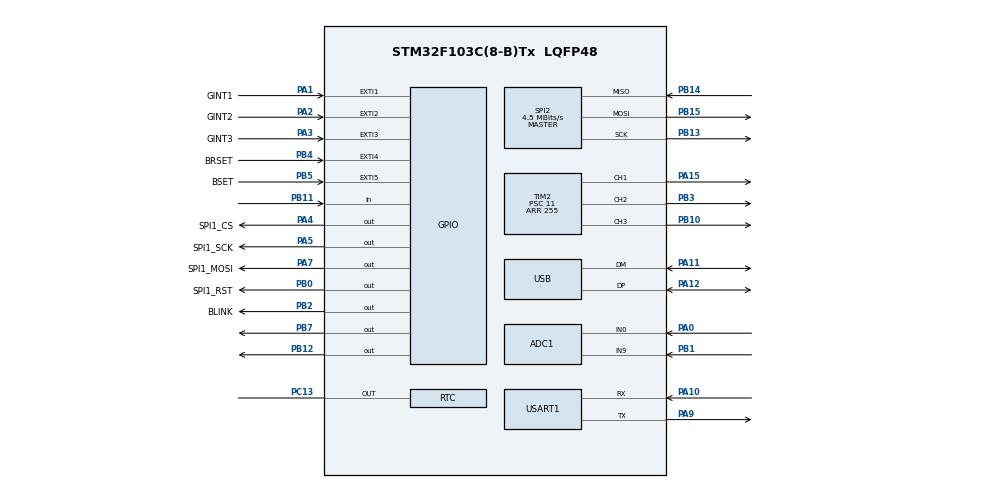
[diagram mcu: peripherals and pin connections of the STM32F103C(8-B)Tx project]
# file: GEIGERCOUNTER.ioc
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Mcu.Family=STM32F1
PA2.GPIO_PuPd=GPIO_PULLUP
USB_DEVICE.CLASS_NAME_FS=CDC
PB10.GPIO_Speed=GPIO_SPEED_FREQ_LOW
SPI2.VirtualType=VM_MASTER
ADC1.ContinuousConvMode=DISABLE
PB4.GPIO_ModeDefaultEXTI=GPIO_MODE_IT_FALLING
ADC1.SamplingTime-6\#ChannelRegularConversion=ADC_SAMPLETIME_7CYCLES_5
PA3.GPIO_PuPd=GPIO_PULLUP
NVIC.EXTI3_IRQn=true\:0\:0\:true\:false\:true\:true\:true
VP_RTC_VS_RTC_Activate.Mode=RTC_Enabled
PA11.Mode=Device
PB0.GPIO_Label=SPI1_RST
NVIC.TIM1_UP_IRQn=true\:2\:0\:true\:false\:true\:true\:true
TIM2.Channel-PWM\ Generation2\ CH2=TIM_CHANNEL_2
PB11.Signal=GPIO_Input
PB13.Signal=SPI2_SCK
PB15.Signal=SPI2_MOSI
PB3.GPIO_Speed=GPIO_SPEED_FREQ_LOW
RCC.SYSCLKSource=RCC_SYSCLKSOURCE_PLLCLK
ProjectManager.StackSize=0x400
PD1-OSC_OUT.Signal=RCC_OSC_OUT
NVIC.RTC_IRQn=true\:0\:0\:false\:false\:true\:true\:true
NVIC.EXTI1_IRQn=true\:0\:0\:false\:false\:true\:true\:true
PA12.Signal=USB_DP
TIM1.Prescaler=1800-1
RCC.HCLKFreq_Value=18000000
RCC.APB2TimFreq_Value=18000000
Dma.ADC1.0.Direction=DMA_PERIPH_TO_MEMORY
ADC1.InjNumberOfConversion=2
TIM2.ClockDivision=TIM_CLOCKDIVISION_DIV1
PA1.GPIO_PuPd=GPIO_PULLUP
Dma.ADC1.0.MemDataAlignment=DMA_MDATAALIGN_HALFWORD
RCC.AHBFreq_Value=18000000
SPI2.BaudRatePrescaler=SPI_BAUDRATEPRESCALER_4
PB2.Signal=GPIO_Output
RCC.PLLMUL=RCC_PLL_MUL9
PA4.GPIO_Speed=GPIO_SPEED_FREQ_HIGH
ADC1.Channel-6\#ChannelRegularConversion=ADC_CHANNEL_0
PA14.Mode=Serial_Wire
PB14.Mode=Full_Duplex_Master
Dma.ADC1.0.PeriphInc=DMA_PINC_DISABLE
NVIC.TIM2_IRQn=true\:3\:0\:true\:false\:true\:true\:true
SPI2.CalculateBaudRate=4.5 MBits/s
PB7.Signal=GPIO_Output
NVIC.SPI2_IRQn=true\:1\:0\:true\:false\:true\:true\:true
SH.ADCx_IN0.0=ADC1_IN0,IN0
TIM2.Channel-PWM\ Generation1\ CH1=TIM_CHANNEL_1
VP_TIM1_VS_ClockSourceINT.Mode=Internal
Mcu.Package=LQFP48
TIM2.Prescaler=11
PB1.Signal=ADCx_IN9
ADC1.EnableInjectedConversion=DISABLE
SPI2.Mode=SPI_MODE_MASTER
PA2.GPIO_Label=GINT2
PA10.Signal=USART1_RX
VP_RTC_VS_RTC_Calendar.Mode=RTC_Calendar
PA15.Signal=S_TIM2_CH1_ETR
SH.ADCx_IN9.0=ADC1_IN9,IN9
PB5.GPIO_Label=BSET
NVIC.EXTI2_IRQn=true\:0\:0\:true\:false\:true\:true\:true
RCC.APB1TimFreq_Value=18000000
SPI2.Direction=SPI_DIRECTION_2LINES
TIM1.Period=9999
PB13.Mode=Full_Duplex_Master
ADC1.Rank-6\#ChannelRegularConversion=1
Dma.Request0=ADC1
PA1.GPIO_ModeDefaultEXTI=GPIO_MODE_IT_FALLING
PA4.GPIO_Label=SPI1_CS
PB4.Signal=GPXTI4
PA3.Signal=GPXTI3
PB5.GPIO_ModeDefaultEXTI=GPIO_MODE_IT_FALLING
PB7.GPIO_PuPd=GPIO_PULLDOWN
RCC.PLLSourceVirtual=RCC_PLLSOURCE_HSE
NVIC.EXTI4_IRQn=true\:0\:0\:false\:false\:true\:true\:true
Dma.ADC1.0.Instance=DMA1_Channel1
PD1-OSC_OUT.Mode=HSE-External-Oscillator
PA10.Mode=Asynchronous
USB_DEVICE.VirtualModeFS=Cdc_FS
PC13-TAMPER-RTC.Signal=RTC_OUT
RCC.USBPrescaler=RCC_USBCLKSOURCE_PLL_DIV1_5
PD0-OSC_IN.Signal=RCC_OSC_IN
PA0-WKUP.Signal=ADCx_IN0
ADC1.Channel-7\#ChannelRegularConversion=ADC_CHANNEL_9
TIM1.ClockDivision=TIM_CLOCKDIVISION_DIV1
PA3.GPIO_ModeDefaultEXTI=GPIO_MODE_IT_FALLING
PB0.GPIO_Speed=GPIO_SPEED_FREQ_HIGH
RCC.ADCPresc=RCC_ADCPCLK2_DIV4
PA13.Signal=SYS_JTMS-SWDIO
TIM1.AutoReloadPreload=TIM_AUTORELOAD_PRELOAD_ENABLE
SH.S_TIM2_CH2.0=TIM2_CH2,PWM Generation2 CH2
Dma.ADC1.0.PeriphDataAlignment=DMA_PDATAALIGN_HALFWORD
PA9.Mode=Asynchronous
ProjectManager.TargetToolchain=STM32CubeIDE
USB_DEVICE.PRODUCT_STRING_CDC_FS=STM32 Virtual CumPort
Dma.ADC1.0.Mode=DMA_NORMAL
VP_USB_DEVICE_VS_USB_DEVICE_CDC_FS.Mode=CDC_FS
Dma.ADC1.0.Priority=DMA_PRIORITY_LOW
PA9.Signal=USART1_TX
RTC.Format=RTC_FORMAT_BIN
PB4.GPIO_PuPd=GPIO_PULLUP
RCC.USBFreq_Value=48000000
PA1.Signal=GPXTI1
PB12.GPIO_Speed=GPIO_SPEED_FREQ_HIGH
PD0-OSC_IN.Mode=HSE-External-Oscillator
PB10.Signal=S_TIM2_CH3
PB14.Signal=SPI2_MISO
PA5.Signal=GPIO_Output
board=custom
PA7.GPIO_Speed=GPIO_SPEED_FREQ_HIGH
PB15.Mode=Full_Duplex_Master
PC13-TAMPER-RTC.Mode=RTC OUT
RCC.APB2Freq_Value=18000000
PB4.GPIO_Label=BRSET
VP_TIM2_VS_ClockSourceINT.Mode=Internal
SH.S_TIM2_CH3.0=TIM2_CH3,PWM Generation3 CH3
NVIC.USB_LP_CAN1_RX0_IRQn=true\:0\:0\:false\:false\:true\:false\:true
PA1.GPIO_Label=GINT1
TIM2.Channel-PWM\ Generation3\ CH3=TIM_CHANNEL_3
RCC.AHBCLKDivider=RCC_SYSCLK_DIV4
TIM2.Period=255
ADC1.NbrOfConversion=2
PA13.Mode=Serial_Wire
NVIC.RTC_Alarm_IRQn=true\:0\:0\:false\:false\:true\:true\:true
Mcu.Name=STM32F103C(8-B)Tx
PA2.Signal=GPXTI2
PB3.Signal=S_TIM2_CH2
PA4.Signal=GPIO_Output
RCC.SYSCLKFreq_VALUE=72000000
PB5.Signal=GPXTI5
PA7.GPIO_Label=SPI1_MOSI
ADC1.master=1
PA12.Mode=Device
PA5.GPIO_Label=SPI1_SCK
PB5.GPIO_PuPd=GPIO_PULLUP
USART1.VirtualMode=VM_ASYNC
PA11.Signal=USB_DM
SH.S_TIM2_CH1_ETR.0=TIM2_CH1,PWM Generation1 CH1
NVIC.EXTI9_5_IRQn=true\:0\:0\:false\:false\:true\:true\:true
PA14.Signal=SYS_JTCK-SWCLK
Dma.ADC1.0.MemInc=DMA_MINC_ENABLE
PB2.GPIO_Label=BLINK
ProjectManager.HeapSize=0x400
PA2.GPIO_ModeDefaultEXTI=GPIO_MODE_IT_FALLING
ADC1.Rank-7\#ChannelRegularConversion=2
PA5.GPIO_Speed=GPIO_SPEED_FREQ_HIGH
NVIC.PriorityGroup=NVIC_PRIORITYGROUP_4
ADC1.NbrOfConversionFlag=1
ADC1.EnableRegularConversion=ENABLE
TIM2.AutoReloadPreload=TIM_AUTORELOAD_PRELOAD_ENABLE
ADC1.SamplingTime-7\#ChannelRegularConversion=ADC_SAMPLETIME_7CYCLES_5
NVIC.DMA1_Channel1_IRQn=true\:0\:0\:false\:false\:true\:false\:true
PB12.GPIO_PuPd=GPIO_NOPULL
RCC.APB1Freq_Value=18000000
PB0.Signal=GPIO_Output
USB_DEVICE.VirtualMode=Cdc
PB12.Signal=GPIO_Output
PA3.GPIO_Label=GINT3
PA7.Signal=GPIO_Output

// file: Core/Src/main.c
/* USER CODE BEGIN Header */
/**
  ******************************************************************************
  * @file           : main.c
  * @brief          : Main program body
  ******************************************************************************
  * @attention
  *
  * <h2><center>&copy; Copyright (c) 2020 STMicroelectronics.
  * All rights reserved.</center></h2>
  *
  * This software component is licensed by ST under BSD 3-Clause license,
  * the "License"; You may not use this file except in compliance with the
  * License. You may obtain a copy of the License at:
  *                        opensource.org/licenses/BSD-3-Clause
  *
  ******************************************************************************
  */
/* USER CODE END Header */
#include "main.h"
#include "usb_device.h"

/* USER CODE BEGIN Includes */
#include "usbd_cdc_if.h"
#include "configuration.h"
#include "stdio.h"
#include "util.h"
#include <managers/meaning_manager.h>
#include "managers/output_manager.h"
#include "managers/data_manager.h"
#include "managers/input_manager.h"
#include "managers/power_manager.h"
#include "libs/w25qxx.h"
/* USER CODE END Includes */

RTC_HandleTypeDef hrtc;

/* USER CODE BEGIN PV */

unsigned long highvolt_millis = 0;
unsigned long batvolt_millis = 0;
unsigned long gps_millis = 0;

extern DINITSTATUS device_status;

extern geiger_flags GFLAGS;
extern geiger_meaning GMEANING;
extern geiger_work GWORK;
extern geiger_mode GMODE;
extern NVRAM DevNVRAM;
extern geiger_ui GUI;

extern uint8_t current_hour;
extern uint8_t current_minutes;
extern uint8_t current_seconds;

extern uint8_t submode_cursor;

extern bool screen_saver_state;
extern uint8_t sleepy_deepy;

bool high_voltage_update;
/* USER CODE END PV */

void SystemClock_Config(void);
static void MX_GPIO_Init(void);
static void MX_DMA_Init(void);
static void MX_SPI2_Init(void);
static void MX_TIM1_Init(void);
static void MX_TIM2_Init(void);
static void MX_ADC1_Init(void);
static void MX_USART1_UART_Init(void);
static void MX_RTC_Init(void);

/* USER CODE BEGIN 0 */

void HAL_GPIO_EXTI_Callback(uint16_t GPIO_Pin){
	switch(GPIO_Pin){
	case 1:
		interrupts_handler();
		break;
	case 2:
		interrupts_handler();
		break;
	case 3:
		interrupts_handler();
		break;
	case GPIO_PIN_5:
		if(GFLAGS.is_sleep_mode){
			if(GFLAGS.is_muted) GFLAGS.is_muted = false;
			GFLAGS.is_detected = true;
			if(sleepy_deepy++ > 3){
				sleepy_deepy = 0;
				exit_sleep_mode();
			}
		}

		if(GFLAGS.is_stop_mode){
			if(GFLAGS.is_muted) GFLAGS.is_muted = false;
			GFLAGS.is_detected = true;
			if(sleepy_deepy++ > 3){
				sleepy_deepy = 0;
				exit_stop_mode();
			}
		}
		break;
	}
}

/* USER CODE END 0 */

int main(void)
{
  /* USER CODE BEGIN 1 */
  //SCB->VTOR = 0x08005004;
  //__enable_irq();
  /* USER CODE END 1 */

  /* MCU Configuration--------------------------------------------------------*/

  /* Reset of all peripherals, Initializes the Flash interface and the Systick. */
  HAL_Init();

  /* Configure the system clock */
  SystemClock_Config();

  /* Initialize all configured peripherals */
  MX_GPIO_Init();
  MX_DMA_Init();
  MX_SPI2_Init();
  MX_TIM1_Init();
  MX_TIM2_Init();
  MX_ADC1_Init();
  MX_USB_DEVICE_Init();
  MX_USART1_UART_Init();
  MX_RTC_Init();
  /* USER CODE BEGIN 2 */

  LL_SYSTICK_EnableIT();
  LL_SPI_Enable(SPI2);

   Initialize_data();
   DevNVRAM.GSETTING.session_number++;
   Write_configuration();

   adc_init();
   init_inputs();

  init_outputs();
  GMODE.counter_mode = 0;

  //Enable timers
  LL_TIM_EnableIT_UPDATE(TIM1);
  LL_TIM_EnableCounter(TIM1);

  LL_TIM_CC_EnableChannel(TIM2, LL_TIM_CHANNEL_CH1 | LL_TIM_CHANNEL_CH2 | LL_TIM_CHANNEL_CH3);
  LL_TIM_EnableCounter(TIM2);

  update_selected_counter();

  if(HAL_GPIO_ReadPin(GPIOB, GPIO_PIN_5 ) != GPIO_PIN_SET){
	  Reset_settings();
	  LL_mDelay(100);
  }

  /* USER CODE END 2 */

  /* Infinite loop */
  /* USER CODE BEGIN WHILE */
  while (1)
  {
#ifndef DEBUG
	beep();
	if(!GFLAGS.is_stop_mode){
		if((GMEANING.current_battery_voltage < BAT_ADC_MIN) && !GFLAGS.is_low_voltage) GFLAGS.is_low_voltage = true;		//Check, is battery low

		GFLAGS.is_charging = false;//(bool)(GPIOB->IDR & LL_GPIO_PIN_11);
		//if(is_low_voltage) low_battery_kill();

		if(!GFLAGS.is_charging){
			voltage_required();

			if(GetTick() - batvolt_millis > 100){
				batvolt_millis = GetTick();
				LL_ADC_REG_StartConversionSWStart(ADC1);
				high_voltage_update = true;
			}

			//High voltage regulation
			if(DevNVRAM.GSETTING.ACTIVE_COUNTERS != 0 && !GFLAGS.log_mutex){
				if(GFLAGS.stop_timer && GMODE.counter_mode == 1) TIM2->CCR1 = 0;
				else{
					if(high_voltage_update){
						if(GMEANING.current_high_voltage < GWORK.voltage_req) { if(GWORK.transformer_pwm < 200)GWORK.transformer_pwm++; }
						else { if(GWORK.transformer_pwm > 0) GWORK.transformer_pwm--; }
						/*float test_val = 0;
						test_val = (float)GMEANING.current_high_voltage/(float)GWORK.voltage_req;
						GWORK.transformer_pwm = GWORK.transformer_pwm/test_val;*/
						high_voltage_update = false;
					}
					TIM2->CCR1 = GWORK.transformer_pwm;
				}
			}else{
				TIM2->CCR1 = 0;
			}

			if(!GFLAGS.is_sleep_mode){
				uart_transmition_handler();
				button_action();
				screen_saver_ticker();

				/******************************************************************************************************************************/
				//Timer for logger
				if(GetTick() - gps_millis > DevNVRAM.GSETTING.log_save_period * 1000){
					gps_millis = GetTick();

					if(GFLAGS.is_tracking_enabled){
						uint8_t buffer[64];
						memset(buffer, 0, sizeof(buffer));
						sprintf(buffer, "%u,%u,%u,%u,%u,%u\n", DevNVRAM.GSETTING.session_number, GWORK.rad_back, GWORK.rad_dose, current_hour, current_minutes, current_seconds);
						if(!Write_string_w25qxx(buffer)){
							//Not enought memory, can't write
							//Do something
						}
					}
				}

				//Check is current radiation more then alarm threshold
				if((GWORK.rad_back > DevNVRAM.GSETTING.ALARM_THRESHOLD) && !GFLAGS.no_alarm && (GMODE.counter_mode == 0)) { GFLAGS.do_alarm = true; }
				else { if(GMODE.counter_mode == 0) GFLAGS.do_alarm = false; }

				if(!GFLAGS.do_alarm && !screen_saver_state){ if((bool)DevNVRAM.GSETTING.LCD_BACKLIGHT){ pwm_backlight(BACKLIGHT_INTENSITY); } else {pwm_backlight(0);} }//Disable or enable backlight after alarm

				//Alarm algorithm
				if(!GFLAGS.no_alarm) {
					if(GFLAGS.do_alarm){
						if(GetTick()-GWORK.alarm_timer > 300){
							GWORK.alarm_timer = GetTick();
							if(!GFLAGS.is_muted) pwm_tone(GFLAGS.is_alarm ? 100 : 200);
							pwm_backlight(GFLAGS.is_alarm ? 255 : 0);
							GFLAGS.is_alarm = !GFLAGS.is_alarm;
							screen_saver_update();
						}
					}
				}

				if(!screen_saver_state) draw_update();

				//Save dose part
				if(GMODE.counter_mode==0){
					if(GWORK.rad_dose - GWORK.rad_dose_old > DevNVRAM.GSETTING.SAVE_DOSE_INTERVAL){
						GWORK.rad_dose_old = GWORK.rad_dose;
						GWORK.rad_max = GWORK.rad_back;
						Write_configuration();
					}
				}
			}

			if(GMODE.counter_mode != 1){
				switch(submode_cursor){
					case 0:
						GFLAGS.is_mean_mode = false;
						GFLAGS.is_particle_mode = false;
						GFLAGS.is_particle_per_sec_mode = false;
						GFLAGS.calculate_dose = true;;
						break;
					case 1:
						GFLAGS.is_mean_mode = false;
						GFLAGS.is_particle_mode = true;
						GFLAGS.is_particle_per_sec_mode = false;
						GFLAGS.calculate_dose = false;
						GFLAGS.no_alarm = true;
						break;
					case 2:
						GFLAGS.is_mean_mode = true;
						GFLAGS.is_particle_mode = false;
						GFLAGS.is_particle_per_sec_mode = false;
						GFLAGS.calculate_dose = true;
						break;
					case 3:
						GFLAGS.is_mean_mode = false;
						GFLAGS.is_particle_mode = false;
						GFLAGS.is_particle_per_sec_mode = true;
						GFLAGS.calculate_dose = false;
						GFLAGS.no_alarm = true;
						break;
				}
			}

			/******************************************************************************************************************************/
			//Timer for update voltage values
		}else{
			//pwm_transformer(0);
			pwm_tone(0);
			pwm_backlight(0);
		}
	}
#endif
  }
    /* USER CODE END WHILE */

}

void SystemClock_Config(void)
{
  LL_FLASH_SetLatency(LL_FLASH_LATENCY_2);
  while(LL_FLASH_GetLatency()!= LL_FLASH_LATENCY_2)
  {
  }
  LL_RCC_HSE_Enable();

   /* Wait till HSE is ready */
  while(LL_RCC_HSE_IsReady() != 1)
  {

  }
  LL_RCC_LSI_Enable();

   /* Wait till LSI is ready */
  while(LL_RCC_LSI_IsReady() != 1)
  {

  }
  LL_PWR_EnableBkUpAccess();
  LL_RCC_ForceBackupDomainReset();
  LL_RCC_ReleaseBackupDomainReset();
  LL_RCC_SetRTCClockSource(LL_RCC_RTC_CLKSOURCE_LSI);
  LL_RCC_EnableRTC();
  LL_RCC_PLL_ConfigDomain_SYS(LL_RCC_PLLSOURCE_HSE_DIV_1, LL_RCC_PLL_MUL_9);
  LL_RCC_PLL_Enable();

   /* Wait till PLL is ready */
  while(LL_RCC_PLL_IsReady() != 1)
  {

  }
  LL_RCC_SetAHBPrescaler(LL_RCC_SYSCLK_DIV_4);
  LL_RCC_SetAPB1Prescaler(LL_RCC_APB1_DIV_1);
  LL_RCC_SetAPB2Prescaler(LL_RCC_APB2_DIV_1);
  LL_RCC_SetSysClkSource(LL_RCC_SYS_CLKSOURCE_PLL);

   /* Wait till System clock is ready */
  while(LL_RCC_GetSysClkSource() != LL_RCC_SYS_CLKSOURCE_STATUS_PLL)
  {

  }
  LL_SetSystemCoreClock(18000000);

   /* Update the time base */
  if (HAL_InitTick (TICK_INT_PRIORITY) != HAL_OK)
  {
    Error_Handler();
  }
  LL_RCC_SetADCClockSource(LL_RCC_ADC_CLKSRC_PCLK2_DIV_4);
  LL_RCC_SetUSBClockSource(LL_RCC_USB_CLKSOURCE_PLL_DIV_1_5);
}

static void MX_ADC1_Init(void)
{

  LL_ADC_InitTypeDef ADC_InitStruct = {0};
  LL_ADC_CommonInitTypeDef ADC_CommonInitStruct = {0};
  LL_ADC_REG_InitTypeDef ADC_REG_InitStruct = {0};

  LL_GPIO_InitTypeDef GPIO_InitStruct = {0};

  /* Peripheral clock enable */
  LL_APB2_GRP1_EnableClock(LL_APB2_GRP1_PERIPH_ADC1);

  LL_APB2_GRP1_EnableClock(LL_APB2_GRP1_PERIPH_GPIOA);
  LL_APB2_GRP1_EnableClock(LL_APB2_GRP1_PERIPH_GPIOB);
  /**ADC1 GPIO Configuration
  PA0-WKUP   ------> ADC1_IN0
  PB1   ------> ADC1_IN9
  */
  GPIO_InitStruct.Pin = LL_GPIO_PIN_0;
  GPIO_InitStruct.Mode = LL_GPIO_MODE_ANALOG;
  LL_GPIO_Init(GPIOA, &GPIO_InitStruct);

  GPIO_InitStruct.Pin = LL_GPIO_PIN_1;
  GPIO_InitStruct.Mode = LL_GPIO_MODE_ANALOG;
  LL_GPIO_Init(GPIOB, &GPIO_InitStruct);

  /* ADC1 DMA Init */

  /* ADC1 Init */
  LL_DMA_SetDataTransferDirection(DMA1, LL_DMA_CHANNEL_1, LL_DMA_DIRECTION_PERIPH_TO_MEMORY);

  LL_DMA_SetChannelPriorityLevel(DMA1, LL_DMA_CHANNEL_1, LL_DMA_PRIORITY_LOW);

  LL_DMA_SetMode(DMA1, LL_DMA_CHANNEL_1, LL_DMA_MODE_NORMAL);

  LL_DMA_SetPeriphIncMode(DMA1, LL_DMA_CHANNEL_1, LL_DMA_PERIPH_NOINCREMENT);

  LL_DMA_SetMemoryIncMode(DMA1, LL_DMA_CHANNEL_1, LL_DMA_MEMORY_INCREMENT);

  LL_DMA_SetPeriphSize(DMA1, LL_DMA_CHANNEL_1, LL_DMA_PDATAALIGN_HALFWORD);

  LL_DMA_SetMemorySize(DMA1, LL_DMA_CHANNEL_1, LL_DMA_MDATAALIGN_HALFWORD);

  /** Common config
  */
  ADC_InitStruct.DataAlignment = LL_ADC_DATA_ALIGN_RIGHT;
  ADC_InitStruct.SequencersScanMode = LL_ADC_SEQ_SCAN_ENABLE;
  LL_ADC_Init(ADC1, &ADC_InitStruct);
  ADC_CommonInitStruct.Multimode = LL_ADC_MULTI_INDEPENDENT;
  LL_ADC_CommonInit(__LL_ADC_COMMON_INSTANCE(ADC1), &ADC_CommonInitStruct);
  ADC_REG_InitStruct.TriggerSource = LL_ADC_REG_TRIG_SOFTWARE;
  ADC_REG_InitStruct.SequencerLength = LL_ADC_REG_SEQ_SCAN_ENABLE_2RANKS;
  ADC_REG_InitStruct.SequencerDiscont = LL_ADC_REG_SEQ_DISCONT_DISABLE;
  ADC_REG_InitStruct.ContinuousMode = LL_ADC_REG_CONV_SINGLE;
  ADC_REG_InitStruct.DMATransfer = LL_ADC_REG_DMA_TRANSFER_UNLIMITED;
  LL_ADC_REG_Init(ADC1, &ADC_REG_InitStruct);
  /** Configure Regular Channel
  */
  LL_ADC_REG_SetSequencerRanks(ADC1, LL_ADC_REG_RANK_1, LL_ADC_CHANNEL_0);
  LL_ADC_SetChannelSamplingTime(ADC1, LL_ADC_CHANNEL_0, LL_ADC_SAMPLINGTIME_7CYCLES_5);
  /** Configure Regular Channel
  */
  LL_ADC_REG_SetSequencerRanks(ADC1, LL_ADC_REG_RANK_2, LL_ADC_CHANNEL_9);
  LL_ADC_SetChannelSamplingTime(ADC1, LL_ADC_CHANNEL_9, LL_ADC_SAMPLINGTIME_7CYCLES_5);

}

static void MX_RTC_Init(void)
{

  RTC_TimeTypeDef sTime = {0};
  RTC_DateTypeDef DateToUpdate = {0};
  RTC_AlarmTypeDef sAlarm = {0};

  /** Initialize RTC Only
  */
  hrtc.Instance = RTC;
  hrtc.Init.AsynchPrediv = RTC_AUTO_1_SECOND;
  hrtc.Init.OutPut = RTC_OUTPUTSOURCE_ALARM;
  if (HAL_RTC_Init(&hrtc) != HAL_OK)
  {
    Error_Handler();
  }

  /** Initialize RTC and set the Time and Date
  */
  sTime.Hours = 0;
  sTime.Minutes = 0;
  sTime.Seconds = 0;

  if (HAL_RTC_SetTime(&hrtc, &sTime, RTC_FORMAT_BIN) != HAL_OK)
  {
    Error_Handler();
  }
  DateToUpdate.WeekDay = RTC_WEEKDAY_MONDAY;
  DateToUpdate.Month = RTC_MONTH_JANUARY;
  DateToUpdate.Date = 1;
  DateToUpdate.Year = 0;

  if (HAL_RTC_SetDate(&hrtc, &DateToUpdate, RTC_FORMAT_BIN) != HAL_OK)
  {
    Error_Handler();
  }
  /** Enable the Alarm A
  */
  sAlarm.AlarmTime.Hours = 0;
  sAlarm.AlarmTime.Minutes = 0;
  sAlarm.AlarmTime.Seconds = 0;
  sAlarm.Alarm = RTC_ALARM_A;
  if (HAL_RTC_SetAlarm_IT(&hrtc, &sAlarm, RTC_FORMAT_BIN) != HAL_OK)
  {
    Error_Handler();
  }

}

static void MX_SPI2_Init(void)
{

  LL_SPI_InitTypeDef SPI_InitStruct = {0};

  LL_GPIO_InitTypeDef GPIO_InitStruct = {0};

  /* Peripheral clock enable */
  LL_APB1_GRP1_EnableClock(LL_APB1_GRP1_PERIPH_SPI2);

  LL_APB2_GRP1_EnableClock(LL_APB2_GRP1_PERIPH_GPIOB);
  /**SPI2 GPIO Configuration
  PB13   ------> SPI2_SCK
  PB14   ------> SPI2_MISO
  PB15   ------> SPI2_MOSI
  */
  GPIO_InitStruct.Pin = LL_GPIO_PIN_13|LL_GPIO_PIN_15;
  GPIO_InitStruct.Mode = LL_GPIO_MODE_ALTERNATE;
  GPIO_InitStruct.Speed = LL_GPIO_SPEED_FREQ_HIGH;
  GPIO_InitStruct.OutputType = LL_GPIO_OUTPUT_PUSHPULL;
  LL_GPIO_Init(GPIOB, &GPIO_InitStruct);

  GPIO_InitStruct.Pin = LL_GPIO_PIN_14;
  GPIO_InitStruct.Mode = LL_GPIO_MODE_FLOATING;
  LL_GPIO_Init(GPIOB, &GPIO_InitStruct);

  /* SPI2 interrupt Init */
  NVIC_SetPriority(SPI2_IRQn, NVIC_EncodePriority(NVIC_GetPriorityGrouping(),1, 0));
  NVIC_EnableIRQ(SPI2_IRQn);

  /* SPI2 parameter configuration*/
  SPI_InitStruct.TransferDirection = LL_SPI_FULL_DUPLEX;
  SPI_InitStruct.Mode = LL_SPI_MODE_MASTER;
  SPI_InitStruct.DataWidth = LL_SPI_DATAWIDTH_8BIT;
  SPI_InitStruct.ClockPolarity = LL_SPI_POLARITY_LOW;
  SPI_InitStruct.ClockPhase = LL_SPI_PHASE_1EDGE;
  SPI_InitStruct.NSS = LL_SPI_NSS_SOFT;
  SPI_InitStruct.BaudRate = LL_SPI_BAUDRATEPRESCALER_DIV4;
  SPI_InitStruct.BitOrder = LL_SPI_MSB_FIRST;
  SPI_InitStruct.CRCCalculation = LL_SPI_CRCCALCULATION_DISABLE;
  SPI_InitStruct.CRCPoly = 10;
  LL_SPI_Init(SPI2, &SPI_InitStruct);

}

static void MX_TIM1_Init(void)
{

  LL_TIM_InitTypeDef TIM_InitStruct = {0};

  /* Peripheral clock enable */
  LL_APB2_GRP1_EnableClock(LL_APB2_GRP1_PERIPH_TIM1);

  /* TIM1 interrupt Init */
  NVIC_SetPriority(TIM1_UP_IRQn, NVIC_EncodePriority(NVIC_GetPriorityGrouping(),2, 0));
  NVIC_EnableIRQ(TIM1_UP_IRQn);

  TIM_InitStruct.Prescaler = 1800-LL_TIM_IC_FILTER_FDIV1_N2;
  TIM_InitStruct.CounterMode = LL_TIM_COUNTERMODE_UP;
  TIM_InitStruct.Autoreload = 9999;
  TIM_InitStruct.ClockDivision = LL_TIM_CLOCKDIVISION_DIV1;
  TIM_InitStruct.RepetitionCounter = 0;
  LL_TIM_Init(TIM1, &TIM_InitStruct);
  LL_TIM_EnableARRPreload(TIM1);
  LL_TIM_SetClockSource(TIM1, LL_TIM_CLOCKSOURCE_INTERNAL);
  LL_TIM_SetTriggerOutput(TIM1, LL_TIM_TRGO_RESET);
  LL_TIM_DisableMasterSlaveMode(TIM1);

}

static void MX_TIM2_Init(void)
{

  LL_TIM_InitTypeDef TIM_InitStruct = {0};
  LL_TIM_OC_InitTypeDef TIM_OC_InitStruct = {0};

  LL_GPIO_InitTypeDef GPIO_InitStruct = {0};

  /* Peripheral clock enable */
  LL_APB1_GRP1_EnableClock(LL_APB1_GRP1_PERIPH_TIM2);

  /* TIM2 interrupt Init */
  NVIC_SetPriority(TIM2_IRQn, NVIC_EncodePriority(NVIC_GetPriorityGrouping(),3, 0));
  NVIC_EnableIRQ(TIM2_IRQn);

  TIM_InitStruct.Prescaler = 11;
  TIM_InitStruct.CounterMode = LL_TIM_COUNTERMODE_UP;
  TIM_InitStruct.Autoreload = 255;
  TIM_InitStruct.ClockDivision = LL_TIM_CLOCKDIVISION_DIV1;
  LL_TIM_Init(TIM2, &TIM_InitStruct);
  LL_TIM_EnableARRPreload(TIM2);
  LL_TIM_SetClockSource(TIM2, LL_TIM_CLOCKSOURCE_INTERNAL);
  LL_TIM_OC_EnablePreload(TIM2, LL_TIM_CHANNEL_CH1);
  TIM_OC_InitStruct.OCMode = LL_TIM_OCMODE_PWM1;
  TIM_OC_InitStruct.OCState = LL_TIM_OCSTATE_DISABLE;
  TIM_OC_InitStruct.OCNState = LL_TIM_OCSTATE_DISABLE;
  TIM_OC_InitStruct.CompareValue = 0;
  TIM_OC_InitStruct.OCPolarity = LL_TIM_OCPOLARITY_HIGH;
  LL_TIM_OC_Init(TIM2, LL_TIM_CHANNEL_CH1, &TIM_OC_InitStruct);
  LL_TIM_OC_DisableFast(TIM2, LL_TIM_CHANNEL_CH1);
  LL_TIM_OC_EnablePreload(TIM2, LL_TIM_CHANNEL_CH2);
  TIM_OC_InitStruct.OCState = LL_TIM_OCSTATE_DISABLE;
  TIM_OC_InitStruct.OCNState = LL_TIM_OCSTATE_DISABLE;
  LL_TIM_OC_Init(TIM2, LL_TIM_CHANNEL_CH2, &TIM_OC_InitStruct);
  LL_TIM_OC_DisableFast(TIM2, LL_TIM_CHANNEL_CH2);
  LL_TIM_OC_EnablePreload(TIM2, LL_TIM_CHANNEL_CH3);
  TIM_OC_InitStruct.OCState = LL_TIM_OCSTATE_DISABLE;
  TIM_OC_InitStruct.OCNState = LL_TIM_OCSTATE_DISABLE;
  LL_TIM_OC_Init(TIM2, LL_TIM_CHANNEL_CH3, &TIM_OC_InitStruct);
  LL_TIM_OC_DisableFast(TIM2, LL_TIM_CHANNEL_CH3);
  LL_TIM_SetTriggerOutput(TIM2, LL_TIM_TRGO_RESET);
  LL_TIM_DisableMasterSlaveMode(TIM2);
  LL_APB2_GRP1_EnableClock(LL_APB2_GRP1_PERIPH_GPIOB);
  LL_APB2_GRP1_EnableClock(LL_APB2_GRP1_PERIPH_GPIOA);
  /**TIM2 GPIO Configuration
  PB10   ------> TIM2_CH3
  PA15   ------> TIM2_CH1
  PB3   ------> TIM2_CH2
  */
  GPIO_InitStruct.Pin = LL_GPIO_PIN_10|LL_GPIO_PIN_3;
  GPIO_InitStruct.Mode = LL_GPIO_MODE_ALTERNATE;
  GPIO_InitStruct.Speed = LL_GPIO_SPEED_FREQ_LOW;
  GPIO_InitStruct.OutputType = LL_GPIO_OUTPUT_PUSHPULL;
  LL_GPIO_Init(GPIOB, &GPIO_InitStruct);

  GPIO_InitStruct.Pin = LL_GPIO_PIN_15;
  GPIO_InitStruct.Mode = LL_GPIO_MODE_ALTERNATE;
  GPIO_InitStruct.Speed = LL_GPIO_SPEED_FREQ_LOW;
  GPIO_InitStruct.OutputType = LL_GPIO_OUTPUT_PUSHPULL;
  LL_GPIO_Init(GPIOA, &GPIO_InitStruct);

  LL_GPIO_AF_EnableRemap_TIM2();

}

static void MX_USART1_UART_Init(void)
{

  LL_USART_InitTypeDef USART_InitStruct = {0};

  LL_GPIO_InitTypeDef GPIO_InitStruct = {0};

  /* Peripheral clock enable */
  LL_APB2_GRP1_EnableClock(LL_APB2_GRP1_PERIPH_USART1);

  LL_APB2_GRP1_EnableClock(LL_APB2_GRP1_PERIPH_GPIOA);
  /**USART1 GPIO Configuration
  PA9   ------> USART1_TX
  PA10   ------> USART1_RX
  */
  GPIO_InitStruct.Pin = LL_GPIO_PIN_9;
  GPIO_InitStruct.Mode = LL_GPIO_MODE_ALTERNATE;
  GPIO_InitStruct.Speed = LL_GPIO_SPEED_FREQ_HIGH;
  GPIO_InitStruct.OutputType = LL_GPIO_OUTPUT_PUSHPULL;
  LL_GPIO_Init(GPIOA, &GPIO_InitStruct);

  GPIO_InitStruct.Pin = LL_GPIO_PIN_10;
  GPIO_InitStruct.Mode = LL_GPIO_MODE_FLOATING;
  LL_GPIO_Init(GPIOA, &GPIO_InitStruct);

  USART_InitStruct.BaudRate = 115200;
  USART_InitStruct.DataWidth = LL_USART_DATAWIDTH_8B;
  USART_InitStruct.StopBits = LL_USART_STOPBITS_1;
  USART_InitStruct.Parity = LL_USART_PARITY_NONE;
  USART_InitStruct.TransferDirection = LL_USART_DIRECTION_TX_RX;
  USART_InitStruct.HardwareFlowControl = LL_USART_HWCONTROL_NONE;
  USART_InitStruct.OverSampling = LL_USART_OVERSAMPLING_16;
  LL_USART_Init(USART1, &USART_InitStruct);
  LL_USART_ConfigAsyncMode(USART1);
  LL_USART_Enable(USART1);

}

static void MX_DMA_Init(void)
{

  /* Init with LL driver */
  /* DMA controller clock enable */
  LL_AHB1_GRP1_EnableClock(LL_AHB1_GRP1_PERIPH_DMA1);

  /* DMA interrupt init */
  /* DMA1_Channel1_IRQn interrupt configuration */
  NVIC_SetPriority(DMA1_Channel1_IRQn, NVIC_EncodePriority(NVIC_GetPriorityGrouping(),0, 0));
  NVIC_EnableIRQ(DMA1_Channel1_IRQn);

}

static void MX_GPIO_Init(void)
{
  GPIO_InitTypeDef GPIO_InitStruct = {0};

  /* GPIO Ports Clock Enable */
  __HAL_RCC_GPIOC_CLK_ENABLE();
  __HAL_RCC_GPIOD_CLK_ENABLE();
  __HAL_RCC_GPIOA_CLK_ENABLE();
  __HAL_RCC_GPIOB_CLK_ENABLE();

  /*Configure GPIO pin Output Level */
  HAL_GPIO_WritePin(GPIOA, SPI1_CS_Pin|SPI1_SCK_Pin|SPI1_MOSI_Pin, GPIO_PIN_RESET);

  /*Configure GPIO pin Output Level */
  HAL_GPIO_WritePin(GPIOB, SPI1_RST_Pin|BLINK_Pin|GPIO_PIN_12|GPIO_PIN_7, GPIO_PIN_RESET);

  /*Configure GPIO pins : GINT1_Pin GINT2_Pin GINT3_Pin */
  GPIO_InitStruct.Pin = GINT1_Pin|GINT2_Pin|GINT3_Pin;
  GPIO_InitStruct.Mode = GPIO_MODE_IT_FALLING;
  GPIO_InitStruct.Pull = GPIO_PULLUP;
  HAL_GPIO_Init(GPIOA, &GPIO_InitStruct);

  /*Configure GPIO pins : SPI1_CS_Pin SPI1_SCK_Pin SPI1_MOSI_Pin */
  GPIO_InitStruct.Pin = SPI1_CS_Pin|SPI1_SCK_Pin|SPI1_MOSI_Pin;
  GPIO_InitStruct.Mode = GPIO_MODE_OUTPUT_PP;
  GPIO_InitStruct.Pull = GPIO_NOPULL;
  GPIO_InitStruct.Speed = GPIO_SPEED_FREQ_HIGH;
  HAL_GPIO_Init(GPIOA, &GPIO_InitStruct);

  /*Configure GPIO pins : SPI1_RST_Pin PB12 */
  GPIO_InitStruct.Pin = SPI1_RST_Pin|GPIO_PIN_12;
  GPIO_InitStruct.Mode = GPIO_MODE_OUTPUT_PP;
  GPIO_InitStruct.Pull = GPIO_NOPULL;
  GPIO_InitStruct.Speed = GPIO_SPEED_FREQ_HIGH;
  HAL_GPIO_Init(GPIOB, &GPIO_InitStruct);

  /*Configure GPIO pin : BLINK_Pin */
  GPIO_InitStruct.Pin = BLINK_Pin;
  GPIO_InitStruct.Mode = GPIO_MODE_OUTPUT_PP;
  GPIO_InitStruct.Pull = GPIO_NOPULL;
  GPIO_InitStruct.Speed = GPIO_SPEED_FREQ_LOW;
  HAL_GPIO_Init(BLINK_GPIO_Port, &GPIO_InitStruct);

  /*Configure GPIO pin : PB11 */
  GPIO_InitStruct.Pin = GPIO_PIN_11;
  GPIO_InitStruct.Mode = GPIO_MODE_INPUT;
  GPIO_InitStruct.Pull = GPIO_NOPULL;
  HAL_GPIO_Init(GPIOB, &GPIO_InitStruct);

  /*Configure GPIO pins : BRSET_Pin BSET_Pin */
  GPIO_InitStruct.Pin = BRSET_Pin|BSET_Pin;
  GPIO_InitStruct.Mode = GPIO_MODE_IT_FALLING;
  GPIO_InitStruct.Pull = GPIO_PULLUP;
  HAL_GPIO_Init(GPIOB, &GPIO_InitStruct);

  /*Configure GPIO pin : PB7 */
  GPIO_InitStruct.Pin = GPIO_PIN_7;
  GPIO_InitStruct.Mode = GPIO_MODE_OUTPUT_PP;
  GPIO_InitStruct.Pull = GPIO_PULLDOWN;
  GPIO_InitStruct.Speed = GPIO_SPEED_FREQ_LOW;
  HAL_GPIO_Init(GPIOB, &GPIO_InitStruct);

  /* EXTI interrupt init*/
  HAL_NVIC_SetPriority(EXTI1_IRQn, 0, 0);
  HAL_NVIC_EnableIRQ(EXTI1_IRQn);

  HAL_NVIC_SetPriority(EXTI2_IRQn, 0, 0);
  HAL_NVIC_EnableIRQ(EXTI2_IRQn);

  HAL_NVIC_SetPriority(EXTI3_IRQn, 0, 0);
  HAL_NVIC_EnableIRQ(EXTI3_IRQn);

  HAL_NVIC_SetPriority(EXTI4_IRQn, 0, 0);
  HAL_NVIC_EnableIRQ(EXTI4_IRQn);

  HAL_NVIC_SetPriority(EXTI9_5_IRQn, 0, 0);
  HAL_NVIC_EnableIRQ(EXTI9_5_IRQn);

}

void Error_Handler(void)
{
	while(1){
	}
}

/************************ (C) COPYRIGHT STMicroelectronics *****END OF FILE****/
